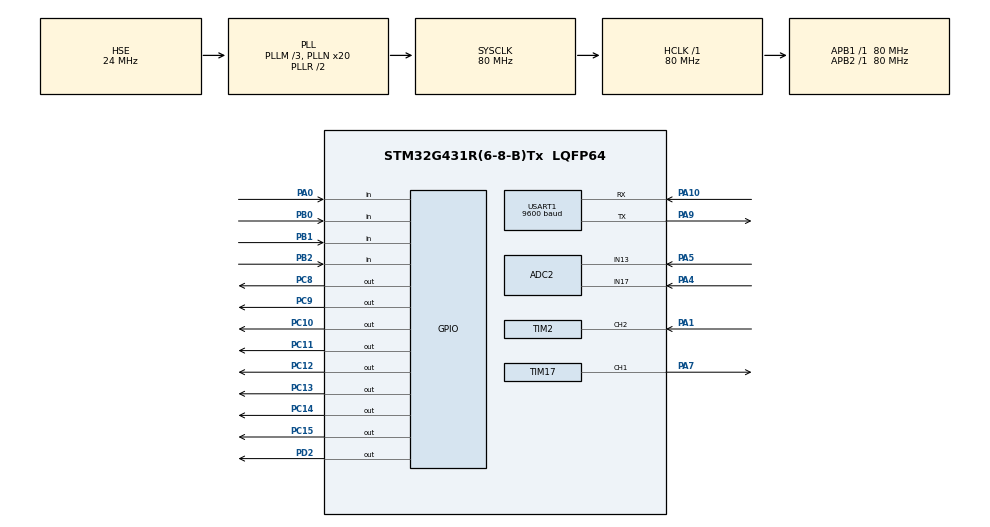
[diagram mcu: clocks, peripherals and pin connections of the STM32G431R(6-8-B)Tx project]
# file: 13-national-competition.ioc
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ADC2.Channel-0\#ChannelRegularConversion=ADC_CHANNEL_17
ADC2.Channel-1\#ChannelRegularConversion=ADC_CHANNEL_13
ADC2.DiscontinuousConvMode=ENABLE
ADC2.NbrOfConversion=2
ADC2.NbrOfConversionFlag=1
ADC2.OffsetNumber-0\#ChannelRegularConversion=ADC_OFFSET_NONE
ADC2.OffsetNumber-1\#ChannelRegularConversion=ADC_OFFSET_NONE
ADC2.Rank-0\#ChannelRegularConversion=1
ADC2.Rank-1\#ChannelRegularConversion=2
ADC2.SamplingTime-0\#ChannelRegularConversion=ADC_SAMPLETIME_640CYCLES_5
ADC2.SamplingTime-1\#ChannelRegularConversion=ADC_SAMPLETIME_640CYCLES_5
Mcu.Family=STM32G4
Mcu.Name=STM32G431R(6-8-B)Tx
Mcu.Package=LQFP64
NVIC.ADC1_2_IRQn=true\:0\:0\:false\:false\:true\:true\:true\:true
NVIC.PriorityGroup=NVIC_PRIORITYGROUP_4
NVIC.TIM2_IRQn=true\:0\:0\:false\:false\:true\:true\:true\:true
NVIC.TIM4_IRQn=true\:0\:0\:false\:false\:true\:true\:true\:true
NVIC.USART1_IRQn=true\:0\:0\:false\:false\:true\:true\:true\:true
PA0.GPIO_PuPd=GPIO_PULLUP
PA0.Signal=GPIO_Input
PA1.Signal=S_TIM2_CH2
PA10.Mode=Asynchronous
PA10.Signal=USART1_RX
PA13.Mode=Serial_Wire
PA13.Signal=SYS_JTMS-SWDIO
PA14.Mode=Serial_Wire
PA14.Signal=SYS_JTCK-SWCLK
PA4.Mode=IN17-Single-Ended
PA4.Signal=ADC2_IN17
PA5.Mode=IN13-Single-Ended
PA5.Signal=ADC2_IN13
PA7.Signal=S_TIM17_CH1
PA9.Mode=Asynchronous
PA9.Signal=USART1_TX
PB0.GPIO_PuPd=GPIO_PULLUP
PB0.Signal=GPIO_Input
PB1.GPIO_PuPd=GPIO_PULLUP
PB1.Signal=GPIO_Input
PB2.GPIO_PuPd=GPIO_PULLUP
PB2.Signal=GPIO_Input
PC10.PinState=GPIO_PIN_SET
PC10.Signal=GPIO_Output
PC11.PinState=GPIO_PIN_SET
PC11.Signal=GPIO_Output
PC12.PinState=GPIO_PIN_SET
PC12.Signal=GPIO_Output
PC13.PinState=GPIO_PIN_SET
PC13.Signal=GPIO_Output
PC14-OSC32_IN.PinState=GPIO_PIN_SET
PC14-OSC32_IN.Signal=GPIO_Output
PC15-OSC32_OUT.PinState=GPIO_PIN_SET
PC15-OSC32_OUT.Signal=GPIO_Output
PC8.PinState=GPIO_PIN_SET
PC8.Signal=GPIO_Output
PC9.PinState=GPIO_PIN_SET
PC9.Signal=GPIO_Output
PD2.Signal=GPIO_Output
PF0-OSC_IN.Mode=HSE-External-Oscillator
PF0-OSC_IN.Signal=RCC_OSC_IN
PF1-OSC_OUT.Mode=HSE-External-Oscillator
PF1-OSC_OUT.Signal=RCC_OSC_OUT
ProjectManager.HeapSize=0x200
ProjectManager.StackSize=0x400
ProjectManager.TargetToolchain=MDK-ARM V5.32
RCC.ADC12Freq_Value=80000000
RCC.AHBFreq_Value=80000000
RCC.APB1Freq_Value=80000000
RCC.APB1TimFreq_Value=80000000
RCC.APB2Freq_Value=80000000
RCC.APB2TimFreq_Value=80000000
RCC.CortexFreq_Value=80000000
RCC.EXTERNAL_CLOCK_VALUE=12288000
RCC.HCLKFreq_Value=80000000
RCC.HSE_VALUE=24000000
RCC.HSI48_VALUE=48000000
RCC.HSI_VALUE=16000000
RCC.LSE_VALUE=32768
RCC.PLLM=RCC_PLLM_DIV3
RCC.PLLN=20
RCC.PLLSourceVirtual=RCC_PLLSOURCE_HSE
RCC.SYSCLKFreq_VALUE=80000000
RCC.SYSCLKSource=RCC_SYSCLKSOURCE_PLLCLK
RCC.USBFreq_Value=80000000
RCC.VCOOutputFreq_Value=160000000
SH.S_TIM17_CH1.0=TIM17_CH1,PWM Generation1 CH1
SH.S_TIM2_CH2.0=TIM2_CH2,Input_Capture2_from_TI2
TIM17.Channel=TIM_CHANNEL_1
TIM17.PeriodNoDither=100-1
TIM17.Prescaler=800-1
TIM2.Channel-Input_Capture2_from_TI2=TIM_CHANNEL_2
TIM2.Prescaler=80-1
TIM3.Prescaler=8000-1
TIM4.PeriodNoDither=1000-1
TIM4.Prescaler=8000-1
TIM7.Prescaler=8000-1
USART1.BaudRate=9600
USART1.VirtualMode-Asynchronous=VM_ASYNC
VP_SYS_VS_DBSignals.Mode=DisableDeadBatterySignals
VP_TIM17_VS_ClockSourceINT.Mode=Enable_Timer
VP_TIM3_VS_ClockSourceINT.Mode=Internal
VP_TIM4_VS_ClockSourceINT.Mode=Internal
VP_TIM7_VS_ClockSourceINT.Mode=Enable_Timer
board=custom

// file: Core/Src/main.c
/* USER CODE BEGIN Header */
/**
  ******************************************************************************
  * @file           : main.c
  * @brief          : Main program body
  ******************************************************************************
  * @attention
  *
  * Copyright (c) 2025 STMicroelectronics.
  * All rights reserved.
  *
  * This software is licensed under terms that can be found in the LICENSE file
  * in the root directory of this software component.
  * If no LICENSE file comes with this software, it is provided AS-IS.
  *
  ******************************************************************************
  */
/* USER CODE END Header */
#include "main.h"
#include "adc.h"
#include "tim.h"
#include "usart.h"
#include "gpio.h"

/* USER CODE BEGIN Includes */
#include "stdio.h"
#include "stdint.h"
#include "string.h"

#include "lcd.h"
#include "i2c_hal.h"
/* USER CODE END Includes */

/* USER CODE BEGIN PV */
uint8_t page=0, mini_page = 0, x=1, y=1, mode=0, long_flag=0, swap_flag=0, clear_flag=0, led_flag=0;
uint16_t idx=0, cnt=0, len=0;
double V4[256], V5[256];
double A4=0, T4=0, H4=0, A5=0, H5=0, T5=0;
double V[2];
uint16_t F1;
char text[20];
uint8_t key_val, key_down, key_up, key_last_val;
uint8_t rec_data, count, rec_flag;
char send_buf[255], rec_buf[255];
/* USER CODE END PV */

void SystemClock_Config(void);
/* USER CODE BEGIN PFP */
void LCD_Proc(void);
void LED_Proc(void);
void KEY_Proc(void);
void PWM_Proc(void);
void USART_Proc(void);
void LED_Show(uint8_t led, uint8_t mode);
/* USER CODE END PFP */

int main(void)
{

  /* MCU Configuration--------------------------------------------------------*/

  /* Reset of all peripherals, Initializes the Flash interface and the Systick. */
  HAL_Init();

  /* Configure the system clock */
  SystemClock_Config();

  /* Initialize all configured peripherals */
  MX_GPIO_Init();
  MX_TIM7_Init();
  MX_TIM2_Init();
  MX_TIM17_Init();
  MX_ADC2_Init();
  MX_USART1_UART_Init();
  MX_TIM3_Init();
  MX_TIM4_Init();
  /* USER CODE BEGIN 2 */
    for(int i = 0;i < 256;i++){
        V4[i]=0;
        V5[i]=0;
    }
    LCD_Init();
    LCD_Clear(Black);
    LCD_SetBackColor(Black);
    LCD_SetTextColor(White);
    // TIM
    TIM7->CNT=0;
    HAL_TIM_Base_Start(&htim7);
    HAL_TIM_IC_Start_IT(&htim2, TIM_CHANNEL_2);
    HAL_TIM_PWM_Start(&htim17, TIM_CHANNEL_1);
    TIM17->CCR1=50;
    HAL_TIM_Base_Start(&htim3);
    TIM3->CNT=0;
    // ADC
    HAL_ADCEx_Calibration_Start(&hadc2, ADC_SINGLE_ENDED);
    // I2C
    I2CInit();
    if(EEPROM_Read(200)==10){
        EEPROM_Write(0, 1);
        EEPROM_Write(1, 1);
        EEPROM_Write(200, 200);
    }
    y = EEPROM_Read(0);
    x = EEPROM_Read(1);
    // UASRT
    HAL_UART_Receive_IT(&huart1, &rec_data, 1);
  /* USER CODE END 2 */

  /* Infinite loop */
  /* USER CODE BEGIN WHILE */
  while (1)
  {
      USART_Proc();
      KEY_Proc();
      PWM_Proc();
      LED_Proc();
      LCD_Proc();
    /* USER CODE END WHILE */

  }
}

void SystemClock_Config(void)
{
  RCC_OscInitTypeDef RCC_OscInitStruct = {0};
  RCC_ClkInitTypeDef RCC_ClkInitStruct = {0};

  /** Configure the main internal regulator output voltage
  */
  HAL_PWREx_ControlVoltageScaling(PWR_REGULATOR_VOLTAGE_SCALE1);

  /** Initializes the RCC Oscillators according to the specified parameters
  * in the RCC_OscInitTypeDef structure.
  */
  RCC_OscInitStruct.OscillatorType = RCC_OSCILLATORTYPE_HSE;
  RCC_OscInitStruct.HSEState = RCC_HSE_ON;
  RCC_OscInitStruct.PLL.PLLState = RCC_PLL_ON;
  RCC_OscInitStruct.PLL.PLLSource = RCC_PLLSOURCE_HSE;
  RCC_OscInitStruct.PLL.PLLM = RCC_PLLM_DIV3;
  RCC_OscInitStruct.PLL.PLLN = 20;
  RCC_OscInitStruct.PLL.PLLP = RCC_PLLP_DIV2;
  RCC_OscInitStruct.PLL.PLLQ = RCC_PLLQ_DIV2;
  RCC_OscInitStruct.PLL.PLLR = RCC_PLLR_DIV2;
  if (HAL_RCC_OscConfig(&RCC_OscInitStruct) != HAL_OK)
  {
    Error_Handler();
  }

  /** Initializes the CPU, AHB and APB buses clocks
  */
  RCC_ClkInitStruct.ClockType = RCC_CLOCKTYPE_HCLK|RCC_CLOCKTYPE_SYSCLK
                              |RCC_CLOCKTYPE_PCLK1|RCC_CLOCKTYPE_PCLK2;
  RCC_ClkInitStruct.SYSCLKSource = RCC_SYSCLKSOURCE_PLLCLK;
  RCC_ClkInitStruct.AHBCLKDivider = RCC_SYSCLK_DIV1;
  RCC_ClkInitStruct.APB1CLKDivider = RCC_HCLK_DIV1;
  RCC_ClkInitStruct.APB2CLKDivider = RCC_HCLK_DIV1;

  if (HAL_RCC_ClockConfig(&RCC_ClkInitStruct, FLASH_LATENCY_2) != HAL_OK)
  {
    Error_Handler();
  }
}

/* USER CODE BEGIN 4 */
void LED_Show(uint8_t led, uint8_t mode){
    if(mode==1){
        HAL_GPIO_WritePin(GPIOC, led<<8, GPIO_PIN_RESET);
        HAL_GPIO_WritePin(GPIOD, GPIO_PIN_2, GPIO_PIN_SET);
        HAL_GPIO_WritePin(GPIOD, GPIO_PIN_2, GPIO_PIN_RESET);
    }else{
        HAL_GPIO_WritePin(GPIOC, led<<8, GPIO_PIN_SET);
        HAL_GPIO_WritePin(GPIOD, GPIO_PIN_2, GPIO_PIN_SET);
        HAL_GPIO_WritePin(GPIOD, GPIO_PIN_2, GPIO_PIN_RESET);
    }
}
void LED_Proc(void){
    if(mode==0){
        LED_Show(0x01, 1);
        LED_Show(0x02, 0);
    }else{
        LED_Show(0x01, 0);
        LED_Show(0x02, 1);
    }
    if(swap_flag==0){
        LED_Show(0x08, 1);
    }else{
        LED_Show(0x08, 0);
    }
    if(V[0]>y * V[1]){
        __HAL_TIM_CLEAR_FLAG(&htim4, TIM_IT_UPDATE);
        HAL_TIM_Base_Start_IT(&htim4);
        LED_Show(0x04, led_flag);
    }else{
        HAL_TIM_Base_Stop_IT(&htim4);
        TIM4->CNT=0;
        led_flag=0;
    }
}
void LCD_Proc(void){
    if(swap_flag==0){
        LCD_WriteReg(R1, 0x0000);   // set SS and SM bit		  //0x0100
        LCD_WriteReg(R96, 0x2700);  // Gate Scan Line		  0xA700
    }else{
        LCD_WriteReg(R1, 0x0100);   // set SS and SM bit		  //0x0100
        LCD_WriteReg(R96, 0xA700);  // Gate Scan Line		  0xA700
    }
    if(clear_flag==1){
        LCD_Clear(Black);
        clear_flag=0;
    }
    if(page==0){
        sprintf(text, "        DATA        ");
        LCD_DisplayStringLine(Line1, (uint8_t*)text);
        sprintf(text, "     PA4=%.2f       ", V[0]);
        LCD_DisplayStringLine(Line3, (uint8_t*)text);
        sprintf(text, "     PA5=%.2f       ", V[1]);
        LCD_DisplayStringLine(Line4, (uint8_t*)text);
        sprintf(text, "     PA1=%d      ", F1);
        LCD_DisplayStringLine(Line5, (uint8_t*)text);
    }else if(page==1){
        sprintf(text, "        PARA        ");
        LCD_DisplayStringLine(Line1, (uint8_t*)text);
        sprintf(text, "     X=%d            ", x);
        LCD_DisplayStringLine(Line3, (uint8_t*)text);
        sprintf(text, "     Y=%d            ", y);
        LCD_DisplayStringLine(Line4, (uint8_t*)text);
        mini_page=0;
    }else{
        if(mini_page==0){
            sprintf(text, "        REC-PA4     ");
            LCD_DisplayStringLine(Line1, (uint8_t*)text);
            sprintf(text, "     N=%d          ", cnt);
            LCD_DisplayStringLine(Line3, (uint8_t*)text);
            sprintf(text, "     A=%.2f         ", A4);
            LCD_DisplayStringLine(Line4, (uint8_t*)text);
            sprintf(text, "     T=%.2f         ", T4);
            LCD_DisplayStringLine(Line5, (uint8_t*)text);
            sprintf(text, "     H=%.2f         ", H4);
            LCD_DisplayStringLine(Line6, (uint8_t*)text);
        }else{
            sprintf(text, "        REC-PA5     ");
            LCD_DisplayStringLine(Line1, (uint8_t*)text);
            sprintf(text, "     N=%d          ", cnt);
            LCD_DisplayStringLine(Line3, (uint8_t*)text);
            sprintf(text, "     A=%.2f         ", A5);
            LCD_DisplayStringLine(Line4, (uint8_t*)text);
            sprintf(text, "     T=%.2f         ", T5);
            LCD_DisplayStringLine(Line5, (uint8_t*)text);
            sprintf(text, "     H=%.2f         ", H5);
            LCD_DisplayStringLine(Line6, (uint8_t*)text);
        }
    }
}
uint8_t KEY_Scan(void){
    uint8_t key_value = 0;
    if(HAL_GPIO_ReadPin(GPIOB, GPIO_PIN_0)==GPIO_PIN_RESET){
        key_value=1;
    }
    if(HAL_GPIO_ReadPin(GPIOB, GPIO_PIN_1)==GPIO_PIN_RESET){
        key_value=2;
    }
    if(HAL_GPIO_ReadPin(GPIOB, GPIO_PIN_2)==GPIO_PIN_RESET){
        key_value=3;
    }
    if(HAL_GPIO_ReadPin(GPIOA, GPIO_PIN_0)==GPIO_PIN_RESET){
        key_value=4;
    }
    return key_value;
}
void KEY_Proc(void){
    key_val=KEY_Scan();
    key_down=key_val&(key_val^key_last_val);
    key_up=~key_val&(key_val^key_last_val);
    key_last_val=key_val;
    if(key_down==1){
        page++;
        page %= 3;
        LCD_Clear(Black);
    }
    if(key_down==2){
        x++;
        if(x>4) x=1;
        EEPROM_Write(1, x);
    }
    if(key_down==3){
        y++;
        if(y>4) y=1;
        EEPROM_Write(0, y);
    }
    if(key_down==4 && page==0){
        for(int i = 0;i < 2;i++){
            HAL_ADC_Start(&hadc2);
            if(HAL_ADC_PollForConversion(&hadc2, 10)==HAL_OK){
                V[i] = 3.3 * HAL_ADC_GetValue(&hadc2) / 4096;
            }
        }
        cnt++;
        if(len==0){
            A4=T4=H4=V[0];
            A5=T5=H5=V[1];
        }else{
            if(V[0] > A4) A4=V[0];
            if(V[0] < T4) T4=V[0];
            if(V[1] > A5) A5=V[1];
            if(V[1] < T5) T5=V[1];
            if(len==256){
                double sum4 = H4*len-V4[idx]+V[0], sum5 = H5*len-V5[idx]+V[1];
                H4 = sum4 / len;
                H5 = sum5 / len;
            }else{
                double sum4 = H4*len+V[0], sum5 = H5*len+V[1];
                H4 = sum4 / (len+1);
                H5 = sum5 / (len+1);
            }
        }
        V4[idx]=V[0];
        V5[idx]=V[1];
        idx++;
        idx %= 256;
        len++;
        if(len>256) len=256;
    }
    if(key_down==4 && page==1){
        // mode==0---倍频
        mode^=1;
    }
    if(key_down==4 && page==2){
        TIM7->CNT=0;
    }
    if(TIM7->CNT<10000){
        if(key_up==4 && page==2){
            mini_page^=1;
        }
    }else{
        if(key_val==4 && page==2){
            long_flag = 1;
        }
    }
    if(key_up==4 && long_flag==1){
        long_flag=0;
        cnt=0;
        A4 = 0; T4 = 0; H4 = 0;
        A5 = 0; T5 = 0; H5 = 0;
        idx = 0;
        len = 0;
        memset(V4, 0, sizeof(V4));
        memset(V5, 0, sizeof(V5));
    }
}
void PWM_Proc(void){
    uint32_t f;
    if(mode==0) {
        f = F1 * x;
    }else{
        f = F1 / x;
    }
    __HAL_TIM_SET_PRESCALER(&htim17, 800000/f-1);
}
void USART_Proc(void){
    if(rec_flag==1){
        if(TIM3->CNT>15){
            if(strcmp(rec_buf, "X")==0){
                sprintf(send_buf, "X:%d", x);
                HAL_UART_Transmit(&huart1, (uint8_t*)send_buf, sizeof(send_buf), 50);
            }else if(strcmp(rec_buf, "Y")==0){
                sprintf(send_buf, "Y:%d", y);
                HAL_UART_Transmit(&huart1, (uint8_t*)send_buf, sizeof(send_buf), 50);
            }else if(strcmp(rec_buf, "PA1")==0){
                sprintf(send_buf, "PA1:%d", F1);
                HAL_UART_Transmit(&huart1, (uint8_t*)send_buf, sizeof(send_buf), 50);
            }else if(strcmp(rec_buf, "PA4")==0){
                sprintf(send_buf, "PA4:%.2f", V[0]);
                HAL_UART_Transmit(&huart1, (uint8_t*)send_buf, sizeof(send_buf), 50);
            }else if(strcmp(rec_buf, "PA5")==0){
                sprintf(send_buf, "PA5:%.2f", V[1]);
                HAL_UART_Transmit(&huart1, (uint8_t*)send_buf, sizeof(send_buf), 50);
            }else if(strcmp(rec_buf, "#")==0){
                swap_flag^=1;
                clear_flag=1;
            }
            rec_flag=0;
            count=0;
            memset(rec_buf, 0, sizeof(rec_buf));
            HAL_UART_Receive_IT(&huart1, &rec_data, 1);
        }
    }
}
void HAL_TIM_IC_CaptureCallback(TIM_HandleTypeDef *htim){
    if(htim->Instance==TIM2){
        uint32_t cap = HAL_TIM_ReadCapturedValue(htim, TIM_CHANNEL_2);
        TIM2->CNT=0;
        F1 = 80000000/(80*cap);
    }
}
void HAL_UART_RxCpltCallback(UART_HandleTypeDef *huart){
    if(huart->Instance==USART1){
        rec_buf[count]=rec_data;
        count++;
        rec_flag=1;
        TIM3->CNT=0;
        HAL_UART_Receive_IT(huart, &rec_data, 1);
    }
}
void HAL_TIM_PeriodElapsedCallback(TIM_HandleTypeDef *htim){
    if(htim->Instance==TIM4){
        led_flag^=1;
    }
}
/* USER CODE END 4 */

void Error_Handler(void)
{
  __disable_irq();
  while (1)
  {
  }
}
